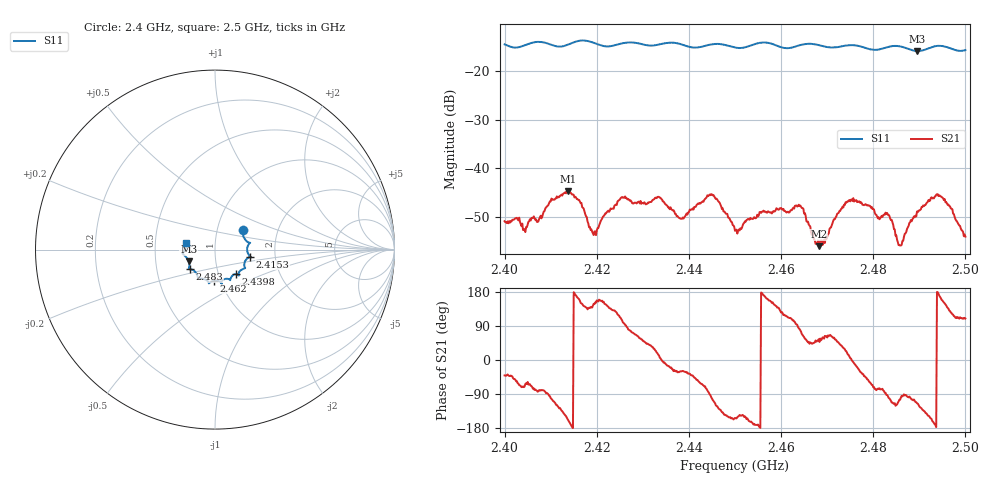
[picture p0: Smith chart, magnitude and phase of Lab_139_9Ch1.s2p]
# Hz S RI R 50
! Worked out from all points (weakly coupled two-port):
!   601 points, 2.4 GHz to 2.5 GHz, reference 50 ohm
!   highest |S21| = -44.71 dB at 2.4138 GHz (marker M1); lowest = -56.0 dB at 2.4682 GHz (marker M2)
!   lowest |S11| = -15.9 dB at 2.4895 GHz (marker M3), VSWR 1.38, Z = 36.9 - j5 ohm
!   |S11| at or under -10 dB: start of sweep to end of sweep
!   S12 and S22 are empty: the file has one direction only
!   S11 on the Smith chart (normalised r, x): 2.4 GHz: 1.33, +0.29; 2.4153 GHz: 1.48, -0.12; 2.4398 GHz: 1.21, -0.34; 2.462 GHz: 0.93, -0.33; 2.483 GHz: 0.74, -0.17; 2.5 GHz: 0.72, +0.06
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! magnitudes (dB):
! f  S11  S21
! 2.4 GHz  -14.5  -50.8
! 2.4045 GHz  -14.7  -53.1
! 2.4138 GHz  -14.5  -44.7
! 2.4153 GHz  -14.0  -45.8
! 2.4167 GHz  -13.7  -47.1
! 2.4195 GHz  -14.2  -52.9
! 2.4253 GHz  -14.3  -46.0
! 2.4333 GHz  -14.6  -45.8
! 2.4398 GHz  -14.9  -49.0
! 2.445 GHz  -14.5  -45.3
! 2.45 GHz  -15.1  -52.8
! 2.462 GHz  -15.2  -48.7
! 2.4643 GHz  -14.6  -47.9
! 2.4667 GHz  -14.4  -53.6
! 2.4682 GHz  -14.6  -56.0
! 2.4748 GHz  -14.7  -46.5
! 2.483 GHz  -15.1  -49.1
! 2.4833 GHz  -15.0  -49.5
! 2.4858 GHz  -14.9  -55.8
! 2.4895 GHz  -15.9  -48.8
! 2.4943 GHz  -14.8  -45.5
! 2.5 GHz  -15.7  -54.0
